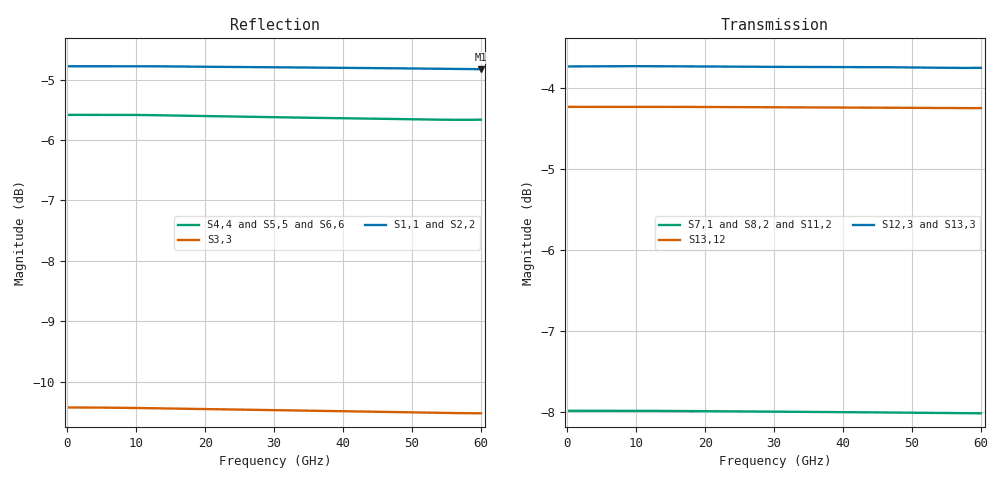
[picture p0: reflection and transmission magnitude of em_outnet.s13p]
#  Hz  S  RI  R  50
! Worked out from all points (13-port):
!   240 points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, 250 MHz to 60 GHz, reference 50 ohm
!   strongest paths, dB at 250 MHz, 15.25 GHz, 30.25 GHz, 45.25 GHz, 60 GHz:
!     S12,3: -3.7, -3.7, -3.7, -3.7, -3.8
!     S13,3: -3.7, -3.7, -3.7, -3.8, -3.8
!     S13,12: -4.2, -4.2, -4.2, -4.2, -4.3
!     S7,1: -8.0, -8.0, -8.0, -8.0, -8.0
!     S8,2: -8.1, -8.1, -8.0, -7.9, -7.8
!     S11,2: -8.0, -8.0, -8.1, -8.1, -8.1
!   lowest |S11| = -4.8 dB at 60 GHz (marker M1), VSWR 3.69, Z = 13.6 + j1.94 ohm
!   |S11| at or under -10 dB: nowhere
